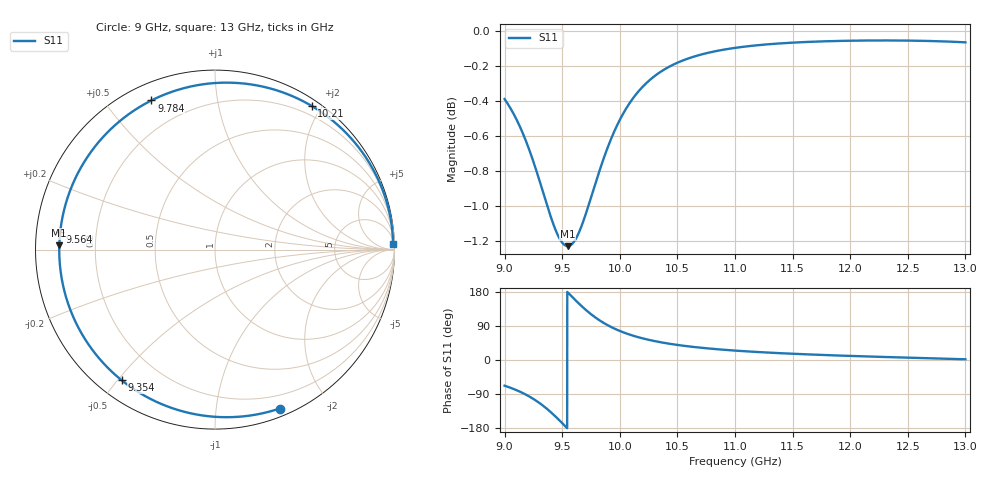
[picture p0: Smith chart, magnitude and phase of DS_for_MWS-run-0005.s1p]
! TOUCHSTONE file generated by CST DESIGN STUDIO
! Date and time: Tue Feb  4 17:25:11 2025
! Project name: C:\Work\MatlabApps\UnitCellOptimizationMatlab\CST\unitcell.cst
! Tree item: Tasks\Sweep1\SPara1\S-Parameters
! Header version: 2024
! Port assignment regex: !\s*Touchstone port\s*([0-9]+)\s*=\s*(CST MWS port|CST DES external port|CST DES block port)\s*(.+)\s* \(\"(.*)\"\)(\s*mode\s*([0-9]+))?.*
! Touchstone port assignment:
! Touchstone port 1 = CST DES external port 1 ("")
# GHz S MA R 50
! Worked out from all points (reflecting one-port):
!   4001 points, 9 GHz to 13 GHz, reference 50 ohm
!   lowest |S11| = -1.2 dB at 9.548 GHz (marker M1), VSWR 14.13, Z = 3.54 + j0.658 ohm
!   phase of S11 starts at -68 deg and turns -290 deg over the sweep
!   S11 on the Smith chart (normalised r, x): 9 GHz: 0.07, -1.48; 9.354 GHz: 0.07, -0.51; 9.564 GHz: 0.07, +0.06; 9.784 GHz: 0.07, +0.66; 10.21 GHz: 0.08, +1.88; 13 GHz: 13, +58
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9  0.956 -67.9
9.036  0.952 -71.6
9.1  0.9437 -79.2
9.209  0.9256 -95.4
9.285  0.91 -109.8
9.354  0.8947 -125.5
9.423  0.8805 -143.7
9.463  0.874 -155.3
9.5  0.8699 -166.6
9.548  0.8678 178.5
9.564  0.868 173.5
9.619  0.8721 156.6
9.68  0.8816 138.9
9.731  0.8919 125.5
9.784  0.9034 113.1
9.83  0.9133 103.5
9.88  0.9233 94.3
10  0.943 76.6
10.101  0.9551 65.5
10.212  0.9648 56.0
10.345  0.9729 47.4
10.5  0.9791 39.8
10.721  0.9847 31.8
11  0.9887 24.8
11.5  0.9922 16.5
12  0.9934 10.8
12.5  0.9935 6.2
13  0.9924 1.9
